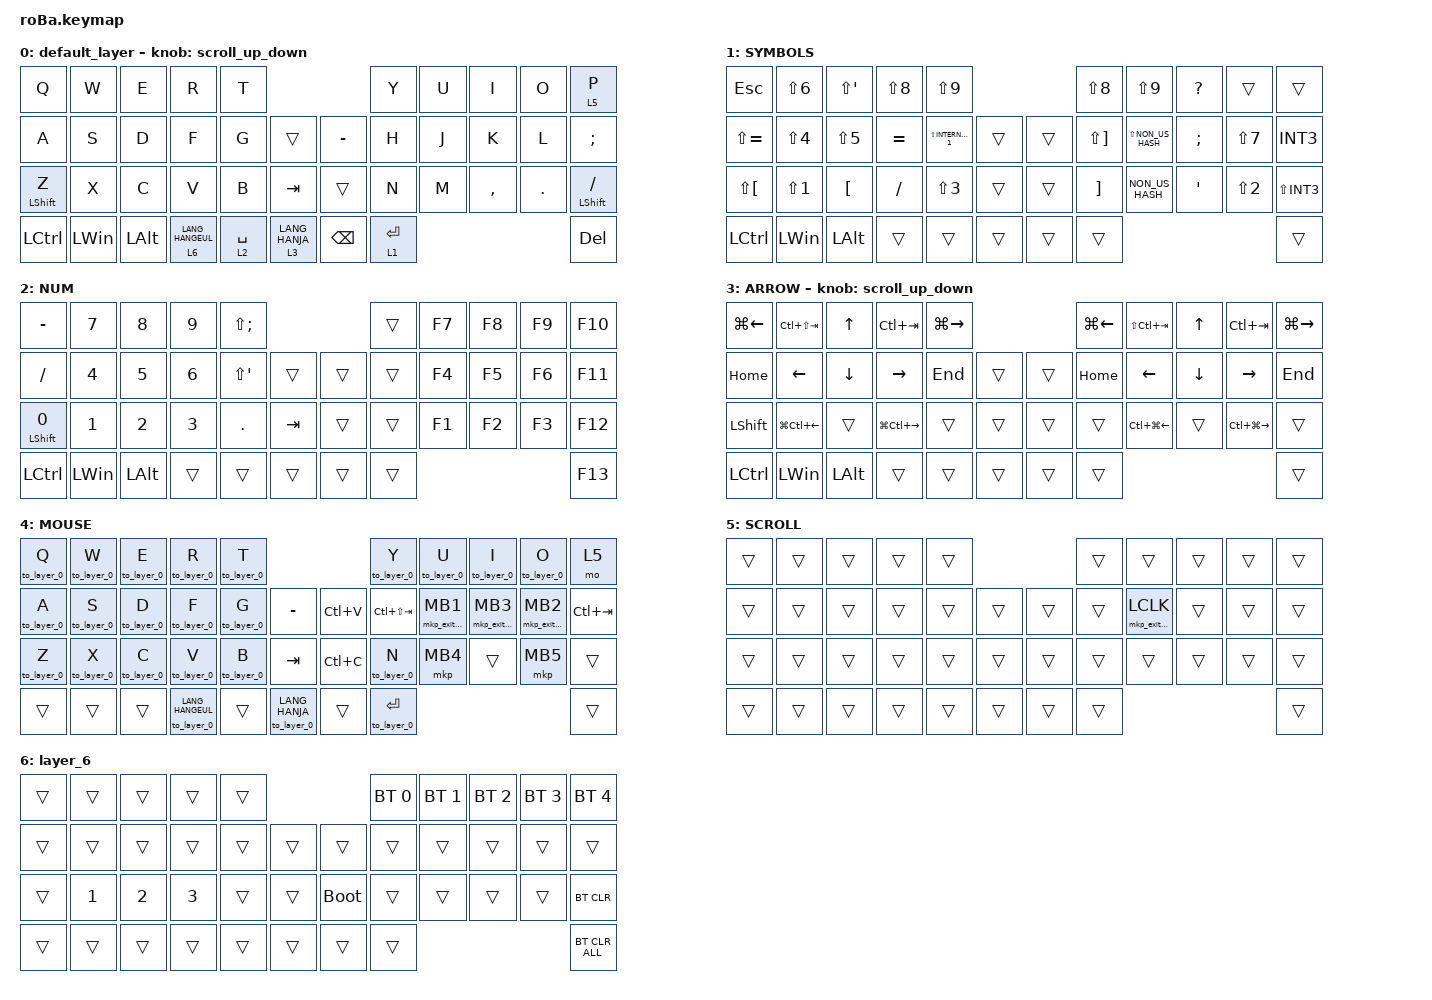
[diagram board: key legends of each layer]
#include <behaviors.dtsi>
#include <dt-bindings/zmk/bt.h>
#include <dt-bindings/zmk/keys.h>
#include <dt-bindings/zmk/pointing.h>

#define ZMK_POINTING_DEFAULT_SCRL_VAL 100
#define MOUSE 4
#define SCROLL 5
#define NUM 6

&mt {
    flavor = "hold-preferred";
    quick-tap-ms = <0>;
    tapping-term-ms = <1000>;
};

&lt {
    quick-tap-ms = <0>;
    tapping-term-ms = <1000>;
};

&sl { release-after-ms = <250>; };

/ {
    combos {
        compatible = "zmk,combos";

        BT0 {
            bindings = <&bt BT_SEL 0>;
            key-positions = <28>;
        };

        BT1 {
            bindings = <&bt BT_SEL 1>;
            key-positions = <28 23>;
        };

        BT2 {
            bindings = <&bt BT_SEL 2>;
            key-positions = <28 24>;
        };

        BT3 {
            bindings = <&none>;
            key-positions = <28 25>;
        };
    };

    macros {
        to_layer_0: to_layer_0 {
            compatible = "zmk,behavior-macro-one-param";
            #binding-cells = <1>;
            bindings = <&to 0 &macro_param_1to1 &kp MACRO_PLACEHOLDER>;
            label = "TO_LAYER_0";
        };

        mkp_exit_AML: mkp_exit_AML {
            compatible = "zmk,behavior-macro-one-param";
            #binding-cells = <1>;
            bindings =
                <&macro_press>,
                <&macro_param_1to1 &mkp MACRO_PLACEHOLDER>,
                <&macro_pause_for_release>,
                <&macro_release>,
                <&macro_param_1to1 &mkp MACRO_PLACEHOLDER>,
                <&macro_tap>,
                <&sl 4>;

            label = "MKP_EXIT_AML";
        };
    };

    behaviors {
        scroll_up_down: behavior_sensor_rotate_mouse_wheel_up_down {
            compatible = "zmk,behavior-sensor-rotate";
            #sensor-binding-cells = <0>;
            bindings = <&msc SCRL_DOWN>, <&msc SCRL_UP>;

            // 追加: スクロールのタップ時間を設定 (20ms)

            tap-ms = <20>;
        };

        multi_tap_tab_bspc: behavior_multi_tap {
            label = "MT_TAB_BSPC";
            #binding-cells = <0>;
            bindings = <&kp TAB>, <&kp BSPC>;

            max-taps = <2>;
            max-tap-interrupt-ms = <250>;
        };
    };

    keymap {
        compatible = "zmk,keymap";

        default_layer {
            bindings = <
&kp Q        &kp W         &kp E         &kp R               &kp T                                             &kp Y        &kp U  &kp I      &kp O       &lt 5 P
&kp A        &kp S         &kp D         &kp F               &kp G        &trans                &kp MINUS      &kp H        &kp J  &kp K      &kp L       &kp SEMICOLON
&mt LSHFT Z  &kp X         &kp C         &kp V               &kp B        &kp TAB               &trans         &kp N        &kp M  &kp COMMA  &kp PERIOD  &mt LSHFT SLASH
&kp LCTRL    &kp LEFT_WIN  &kp LEFT_ALT  &lt 6 LANG_HANGEUL  &lt 2 SPACE  &lt 3 LANG_HANJA      &kp BACKSPACE  &lt 1 ENTER                                &kp DEL
            >;

            sensor-bindings = <&scroll_up_down>;
        };

        SYMBOLS {
            bindings = <
&kp ESCAPE            &kp LS(N6)    &kp LS(SINGLE_QUOTE)  &kp LS(N8)  &kp LS(N9)                                   &kp LS(N8)             &kp LS(N9)           &kp QMARK         &trans      &trans
&kp LS(EQUAL)         &kp LS(N4)    &kp LS(N5)            &kp EQUAL   &kp LS(INTERNATIONAL_1)  &trans      &trans  &kp LS(RIGHT_BRACKET)  &kp LS(NON_US_HASH)  &kp SEMICOLON     &kp LS(N7)  &kp INT3
&kp LS(LEFT_BRACKET)  &kp LS(N1)    &kp LEFT_BRACKET      &kp SLASH   &kp LS(N3)               &trans      &trans  &kp RIGHT_BRACKET      &kp NON_US_HASH      &kp SINGLE_QUOTE  &kp LS(N2)  &kp LS(INT3)
&kp LCTRL             &kp LEFT_WIN  &kp LEFT_ALT          &trans      &trans                   &trans      &trans  &trans                                                                    &trans
            >;
        };

        NUM {
            bindings = <
&kp MINUS          &kp N7        &kp N8        &kp N9  &kp LS(SEMICOLON)                          &trans  &kp F7  &kp F8  &kp F9  &kp F10
&kp SLASH          &kp N4        &kp N5        &kp N6  &kp LS(SINGLE_QUOTE)  &trans       &trans  &trans  &kp F4  &kp F5  &kp F6  &kp F11
&mt LEFT_SHIFT N0  &kp N1        &kp N2        &kp N3  &kp PERIOD            &kp TAB      &trans  &trans  &kp F1  &kp F2  &kp F3  &kp F12
&kp LCTRL          &kp LEFT_WIN  &kp LEFT_ALT  &trans  &trans                &trans       &trans  &trans                          &kp F13
            >;
        };

        ARROW {
            bindings = <
&kp LG(LEFT_ARROW)  &kp LC(LS(TAB))         &kp UP_ARROW    &kp LC(TAB)              &kp LG(RIGHT_ARROW)                      &kp LG(LEFT_ARROW)  &kp LS(LC(TAB))         &kp UP_ARROW    &kp LC(TAB)              &kp LG(RIGHT_ARROW)
&kp HOME            &kp LEFT_ARROW          &kp DOWN_ARROW  &kp RIGHT_ARROW          &kp END              &trans      &trans  &kp HOME            &kp LEFT_ARROW          &kp DOWN_ARROW  &kp RIGHT_ARROW          &kp END
&kp LEFT_SHIFT      &kp LG(LC(LEFT_ARROW))  &trans          &kp LG(LC(RIGHT_ARROW))  &trans               &trans      &trans  &trans              &kp LC(LG(LEFT_ARROW))  &trans          &kp LC(LG(RIGHT_ARROW))  &trans
&kp LCTRL           &kp LEFT_WIN            &kp LEFT_ALT    &trans                   &trans               &trans      &trans  &trans                                                                               &trans
            >;

            sensor-bindings = <&scroll_up_down>;
        };

        MOUSE {
            bindings = <
&to_layer_0 Q  &to_layer_0 W  &to_layer_0 E  &to_layer_0 R             &to_layer_0 T                                         &to_layer_0 Y      &to_layer_0 U      &to_layer_0 I      &to_layer_0 O      &mo 5
&to_layer_0 A  &to_layer_0 S  &to_layer_0 D  &to_layer_0 F             &to_layer_0 G  &kp MINUS                   &kp LC(V)  &kp LC(LS(TAB))    &mkp_exit_AML MB1  &mkp_exit_AML MB3  &mkp_exit_AML MB2  &kp LC(TAB)
&to_layer_0 Z  &to_layer_0 X  &to_layer_0 C  &to_layer_0 V             &to_layer_0 B  &kp TAB                     &kp LC(C)  &to_layer_0 N      &mkp MB4           &trans             &mkp MB5           &trans
&trans         &trans         &trans         &to_layer_0 LANG_HANGEUL  &trans         &to_layer_0 LANG_HANJA      &trans     &to_layer_0 ENTER                                                           &trans
            >;
        };

        SCROLL {
            bindings = <
&trans  &trans  &trans  &trans  &trans                      &trans  &trans              &trans  &trans  &trans
&trans  &trans  &trans  &trans  &trans  &trans      &trans  &trans  &mkp_exit_AML LCLK  &trans  &trans  &trans
&trans  &trans  &trans  &trans  &trans  &trans      &trans  &trans  &trans              &trans  &trans  &trans
&trans  &trans  &trans  &trans  &trans  &trans      &trans  &trans                                      &trans
            >;
        };

        layer_6 {
            bindings = <
&trans  &trans        &trans        &trans        &trans                           &bt BT_SEL 0  &bt BT_SEL 1  &bt BT_SEL 2  &bt BT_SEL 3  &bt BT_SEL 4
&trans  &trans        &trans        &trans        &trans  &trans      &trans       &trans        &trans        &trans        &trans        &trans
&trans  &kp NUMBER_1  &kp NUMBER_2  &kp NUMBER_3  &trans  &trans      &bootloader  &trans        &trans        &trans        &trans        &bt BT_CLR
&trans  &trans        &trans        &trans        &trans  &trans      &trans       &trans                                                  &bt BT_CLR_ALL
            >;
        };
    };
};
